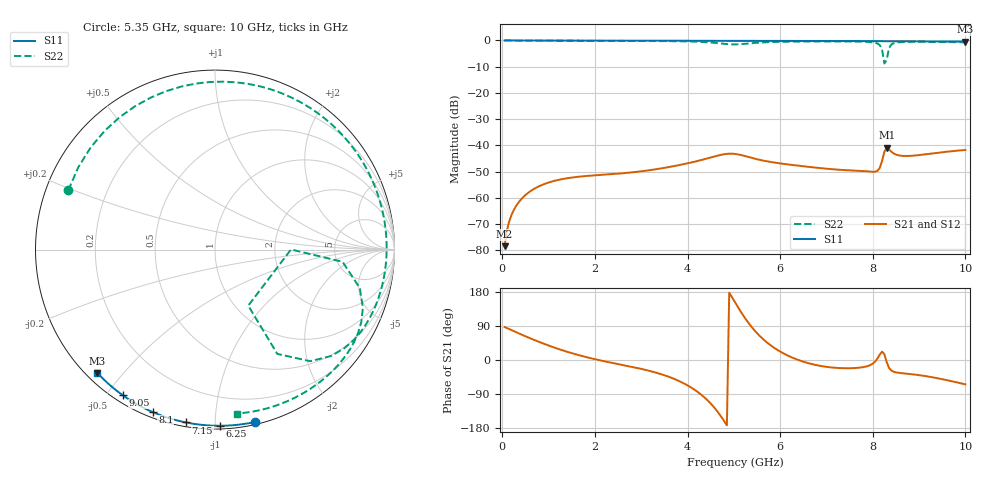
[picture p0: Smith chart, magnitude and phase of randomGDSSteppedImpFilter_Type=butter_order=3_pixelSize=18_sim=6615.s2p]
! freq	dB(S11)	phase(S11)	dB(S12)	phase(S12)
!  dB(S21)	phase(S21)	dB(S22)	phase(S22)
!S-par simulation data
#  GHz  S  DB  R 50
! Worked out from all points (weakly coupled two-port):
!   200 points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, 50 MHz to 10 GHz, reference 50 ohm
!   highest |S21| = -40.94 dB at 8.3 GHz (marker M1); lowest = -78.5 dB at 50 MHz (marker M2)
!   lowest |S11| = -0.5 dB at 10 GHz (marker M3), VSWR 38.44, Z = 1.54 - j21.4 ohm
!   |S11| at or under -10 dB: nowhere
!   |S22| runs from -8.8 to 0.0 dB; largest |S21 - S12| = 0
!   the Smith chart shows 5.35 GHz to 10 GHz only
!   S11 on the Smith chart (normalised r, x): 5.35 GHz: 0.02, -1.26; 6.25 GHz: 0.02, -1.03; 7.15 GHz: 0.02, -0.85; 8.1 GHz: 0.02, -0.69; 9.05 GHz: 0.03, -0.55; 10 GHz: 0.03, -0.43
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0.05  -0.00 -0.8  -78.48 87.1  -78.48 87.1  -0.00 -4.9
0.3  -0.01 -4.6  -63.10 73.3  -63.10 73.3  -0.04 -28.9
0.85  -0.02 -12.9  -55.17 45.1  -55.17 45.1  -0.09 -78.5
1.75  -0.03 -26.4  -51.80 9.6  -51.80 9.6  -0.14 -146.1
2.55  -0.05 -38.2  -50.74 -11.9  -50.74 -11.9  -0.17 163.3
3.4  -0.07 -50.4  -48.90 -36.3  -48.90 -36.3  -0.23 109.8
4  -0.08 -58.7  -46.88 -67.0  -46.88 -67.0  -0.37 63.3
4.5  -0.09 -65.5  -44.64 -114.8  -44.64 -114.8  -0.77 2.1
4.85  -0.11 -70.2  -43.27 -172.4  -43.27 -172.4  -1.40 -74.7
5.05  -0.11 -72.9  -43.35 147.2  -43.35 147.2  -1.51 -131.2
5.35  -0.12 -76.8  -44.62 92.4  -44.62 92.4  -1.10 158.0
5.7  -0.14 -81.4  -46.06 47.8  -46.06 47.8  -0.69 107.1
6.25  -0.16 -88.4  -47.47 7.0  -47.47 7.0  -0.45 59.7
6.7  -0.18 -94.0  -48.39 -11.2  -48.39 -11.2  -0.39 32.4
7.15  -0.21 -99.6  -49.16 -20.2  -49.16 -20.2  -0.38 9.5
8.1  -0.27 -111.0  -49.77 3.7  -49.77 3.7  -1.14 -42.5
8.25  -0.28 -112.8  -42.52 15.5  -42.52 15.5  -8.80 -59.3
8.3  -0.29 -113.4  -40.94 -5.3  -40.94 -5.3  -7.46 0.1
8.35  -0.29 -114.0  -41.53 -20.6  -41.53 -20.6  -2.93 -5.5
8.55  -0.31 -116.4  -43.79 -33.7  -43.79 -33.7  -0.70 -30.2
9.05  -0.35 -122.3  -43.63 -40.8  -43.63 -40.8  -0.53 -52.9
10  -0.45 -133.6  -41.79 -64.3  -41.79 -64.3  -0.71 -82.4
